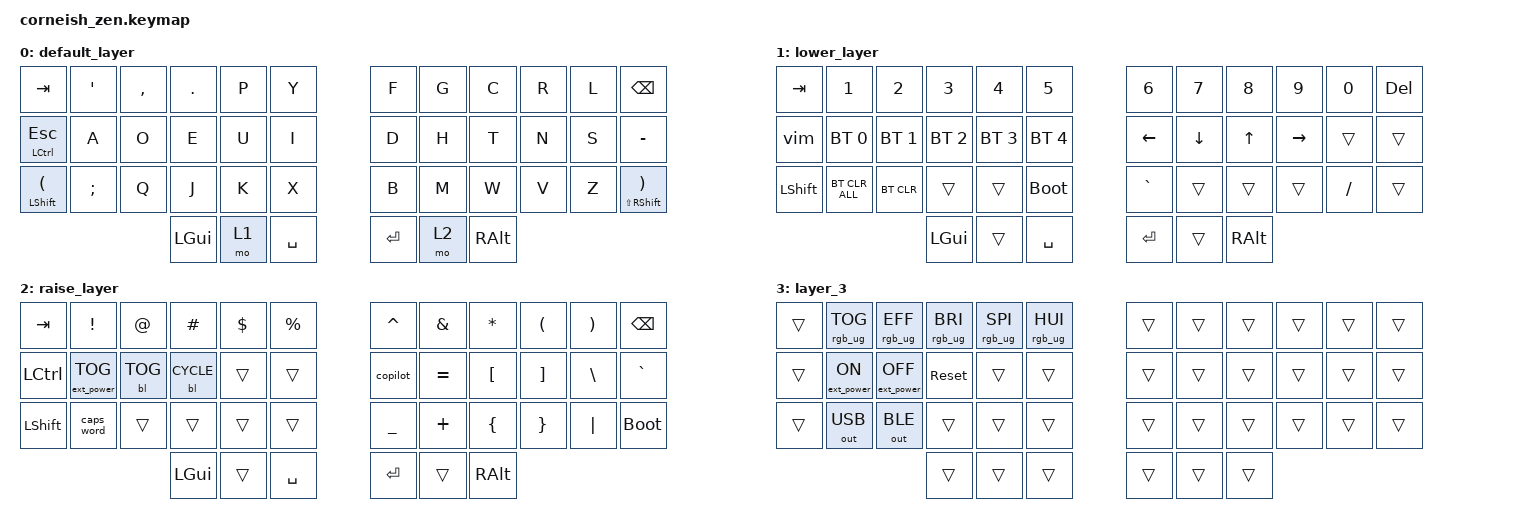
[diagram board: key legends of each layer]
/*
 * Copyright (c) 2020 The ZMK Contributors
 *
 * SPDX-License-Identifier: MIT
 */

#include <behaviors.dtsi>
#include <dt-bindings/zmk/backlight.h>
#include <dt-bindings/zmk/bt.h>
#include <dt-bindings/zmk/ext_power.h>
#include <dt-bindings/zmk/keys.h>
#include <dt-bindings/zmk/outputs.h>
#include <dt-bindings/zmk/rgb.h>

/ {
    macros {
        vim: vim {
            compatible = "zmk,behavior-macro";
            #binding-cells = <0>;
            bindings = <&kp ESCAPE &kp COLON &kp W &kp ENTER>;
            label = "VIM";
        };

        copilot: copilot {
            compatible = "zmk,behavior-macro";
            #binding-cells = <0>;
            bindings = <&kp LC(J)>;
            label = "COPILOT";
        };

        qvim: qvim {
            compatible = "zmk,behavior-macro";
            #binding-cells = <0>;
            bindings = <&kp ESCAPE &kp COLON &kp Q &kp ENTER>;
            label = "QVIM";
        };
    };

    keymap {
        compatible = "zmk,keymap";

        default_layer {
            // -----------------------------------------------------------------------------------------
            // |  TAB |  Q  |  W  |  E  |  R  |  T  |   |  Y  |  U   |  I  |  O  |  P  | BKSP |
            // | CTRL |  A  |  S  |  D  |  F  |  G  |   |  H  |  J   |  K  |  L  |  ;  |  '   |
            // | SHFT |  Z  |  X  |  C  |  V  |  B  |   |  N  |  M   |  ,  |  .  |  /  | ESC  |
            //                    | GUI | LWR | SPC |   | ENT | RSE  | ALT |

            bindings = <
&kp TAB                     &kp SINGLE_QUOTE  &kp COMMA  &kp PERIOD  &kp P  &kp Y        &kp F    &kp G  &kp C     &kp R  &kp L  &kp BSPC
&mt LCTRL ESCAPE            &kp A             &kp O      &kp E       &kp U  &kp I        &kp D    &kp H  &kp T     &kp N  &kp S  &kp MINUS
&mt LSHFT LEFT_PARENTHESIS  &kp SEMICOLON     &kp Q      &kp J       &kp K  &kp X        &kp B    &kp M  &kp W     &kp V  &kp Z  &mt LS(RIGHT_SHIFT) RIGHT_PARENTHESIS
                                                         &kp LGUI    &mo 1  &kp SPACE    &kp RET  &mo 2  &kp RALT
            >;
        };

        lower_layer {
            // -----------------------------------------------------------------------------------------
            // |  TAB |  1  |  2  |  3  |  4  |  5  |   |  6  |  7  |  8  |  9  |  0  | BKSP |
            // | BTCLR| BT1 | BT2 | BT3 | BT4 | BT5 |   | LFT | DWN |  UP | RGT |     |      |
            // | SHFT |     |     |     |     |     |   |     |     |     |     |     |      |
            //                    | GUI |     | SPC |   | ENT |     | ALT |

            bindings = <
&kp TAB    &kp N1          &kp N2        &kp N3        &kp N4        &kp N5          &kp N6     &kp N7    &kp N8    &kp N9     &kp N0     &kp DEL
&vim       &bt BT_SEL 0    &bt BT_SEL 1  &bt BT_SEL 2  &bt BT_SEL 3  &bt BT_SEL 4    &kp LEFT   &kp DOWN  &kp UP    &kp RIGHT  &trans     &trans
&kp LSHFT  &bt BT_CLR_ALL  &bt BT_CLR    &trans        &trans        &bootloader     &kp GRAVE  &trans    &trans    &trans     &kp SLASH  &trans
                                         &kp LGUI      &trans        &kp SPACE       &kp RET    &trans    &kp RALT
            >;
        };

        raise_layer {
            // -----------------------------------------------------------------------------------------
            // |  TAB |  !  |  @  |  #  |  $  |  %  |   |  ^  |  &  |  *  |  (  |  )  | BKSP |
            // | CTRL |     |     |     |     |     |   |  -  |  =  |  [  |  ]  |  \  |  `   |
            // | SHFT |     |     |     |     |     |   |  _  |  +  |  {  |  }  | "|" |  ~   |
            //                    | GUI |     | SPC |   | ENT |     | ALT |

            bindings = <
&kp TAB    &kp EXCL           &kp AT      &kp HASH      &kp DLLR  &kp PRCNT    &kp CARET  &kp AMPS   &kp ASTRK  &kp LPAR  &kp RPAR  &kp BSPC
&kp LCTRL  &ext_power EP_TOG  &bl BL_TOG  &bl BL_CYCLE  &trans    &trans       &copilot   &kp EQUAL  &kp LBKT   &kp RBKT  &kp BSLH  &kp GRAVE
&kp LSHFT  &caps_word         &trans      &trans        &trans    &trans       &kp UNDER  &kp PLUS   &kp LBRC   &kp RBRC  &kp PIPE  &bootloader
                                          &kp LGUI      &trans    &kp SPACE    &kp RET    &trans     &kp RALT
            >;
        };

        layer_3 {
            bindings = <
&trans  &rgb_ug RGB_TOG   &rgb_ug RGB_EFF    &rgb_ug RGB_BRI  &rgb_ug RGB_SPI  &rgb_ug RGB_HUI    &trans  &trans  &trans  &trans  &trans  &trans
&trans  &ext_power EP_ON  &ext_power EP_OFF  &sys_reset       &trans           &trans             &trans  &trans  &trans  &trans  &trans  &trans
&trans  &out OUT_USB      &out OUT_BLE       &trans           &trans           &trans             &trans  &trans  &trans  &trans  &trans  &trans
                                             &trans           &trans           &trans             &trans  &trans  &trans
            >;
        };
    };

    conditional_layers {
        compatible = "zmk,conditional-layers";

        layer3 {
            if-layers = <2 1>;
            then-layer = <3>;
        };
    };
};
